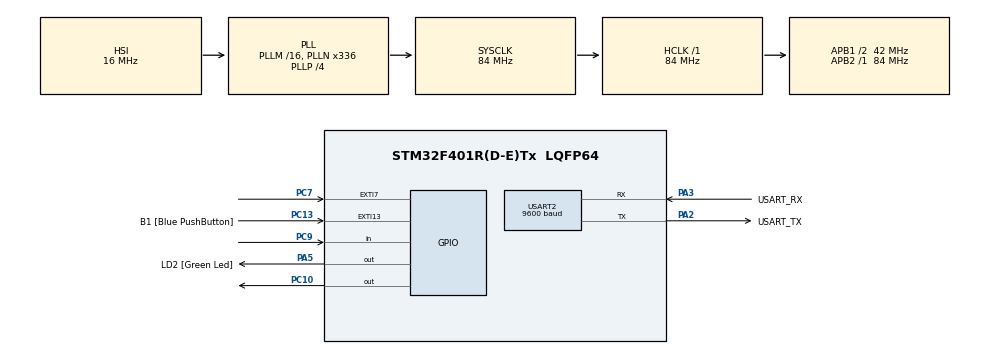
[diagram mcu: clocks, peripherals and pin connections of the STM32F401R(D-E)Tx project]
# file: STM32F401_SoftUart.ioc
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Mcu.Family=STM32F4
Mcu.Name=STM32F401R(D-E)Tx
Mcu.Package=LQFP64
NVIC.PriorityGroup=NVIC_PRIORITYGROUP_0
PA13.GPIO_Label=TMS
PA13.Mode=Serial_Wire
PA13.Signal=SYS_JTMS-SWDIO
PA14.GPIO_Label=TCK
PA14.Mode=Serial_Wire
PA14.Signal=SYS_JTCK-SWCLK
PA2.GPIO_Label=USART_TX
PA2.GPIO_Mode=GPIO_MODE_AF_PP
PA2.GPIO_PuPd=GPIO_NOPULL
PA2.GPIO_Speed=GPIO_SPEED_FREQ_LOW
PA2.Mode=Asynchronous
PA2.Signal=USART2_TX
PA3.GPIO_Label=USART_RX
PA3.GPIO_Mode=GPIO_MODE_AF_PP
PA3.GPIO_PuPd=GPIO_NOPULL
PA3.GPIO_Speed=GPIO_SPEED_FREQ_LOW
PA3.Mode=Asynchronous
PA3.Signal=USART2_RX
PA5.GPIO_Label=LD2 [Green Led]
PA5.GPIO_Mode=GPIO_MODE_OUTPUT_PP
PA5.GPIO_PuPd=GPIO_NOPULL
PA5.GPIO_Speed=GPIO_SPEED_FREQ_LOW
PA5.Signal=GPIO_Output
PB3.GPIO_Label=SWO
PB3.Signal=SYS_JTDO-SWO
PC10.Signal=GPIO_Output
PC13-ANTI_TAMP.GPIO_Label=B1 [Blue PushButton]
PC13-ANTI_TAMP.GPIO_ModeDefaultEXTI=GPIO_MODE_IT_FALLING
PC13-ANTI_TAMP.GPIO_PuPd=GPIO_NOPULL
PC13-ANTI_TAMP.Signal=GPXTI13
PC14-OSC32_IN.Mode=LSE-External-Oscillator
PC14-OSC32_IN.Signal=RCC_OSC32_IN
PC15-OSC32_OUT.Mode=LSE-External-Oscillator
PC15-OSC32_OUT.Signal=RCC_OSC32_OUT
PC7.Signal=GPXTI7
PC9.Signal=GPIO_Input
PH0\ -\ OSC_IN.Mode=HSE-External-Clock-Source
PH0\ -\ OSC_IN.Signal=RCC_OSC_IN
PH1\ -\ OSC_OUT.Mode=HSE-External-Clock-Source
PH1\ -\ OSC_OUT.Signal=RCC_OSC_OUT
ProjectManager.HeapSize=0x200
ProjectManager.StackSize=0x400
ProjectManager.TargetToolchain=SW4STM32
RCC.48MHZClocksFreq_Value=48000000
RCC.AHBFreq_Value=84000000
RCC.APB1CLKDivider=RCC_HCLK_DIV2
RCC.APB1Freq_Value=42000000
RCC.APB1TimFreq_Value=84000000
RCC.APB2Freq_Value=84000000
RCC.APB2TimFreq_Value=84000000
RCC.CortexFreq_Value=84000000
RCC.HCLKFreq_Value=84000000
RCC.HSE_VALUE=8000000
RCC.HSI_VALUE=16000000
RCC.PLLN=336
RCC.PLLP=RCC_PLLP_DIV4
RCC.PLLQ=7
RCC.SYSCLKFreq_VALUE=84000000
RCC.SYSCLKSource=RCC_SYSCLKSOURCE_PLLCLK
RCC.VCOOutputFreq_Value=336000000
USART2.BaudRate=9600
USART2.VirtualMode=VM_ASYNC
VP_TIM1_VS_ClockSourceINT.Mode=Internal
board=NUCLEO-F401RE

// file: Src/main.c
/* USER CODE BEGIN Header */
/**
  ******************************************************************************
  * @file           : main.c
  * @brief          : Main program body
  ******************************************************************************
  * @attention
  *
  * <h2><center>&copy; Copyright (c) 2019 STMicroelectronics.
  * All rights reserved.</center></h2>
  *
  * This software component is licensed by ST under BSD 3-Clause license,
  * the "License"; You may not use this file except in compliance with the
  * License. You may obtain a copy of the License at:
  *                        opensource.org/licenses/BSD-3-Clause
  *
  ******************************************************************************
  */
/* USER CODE END Header */

#include "main.h"

TIM_HandleTypeDef htim1;

UART_HandleTypeDef huart2;

/* USER CODE BEGIN PV */
int _write( int file, char *ptr, int len )
{
  HAL_UART_Transmit(&huart2,(uint8_t*) ptr, len, 1000);
  return len;
}

void HAL_UART_Emul_RxCpltCallback(UART_Emul_HandleTypeDef *huart){

	printf("Rx Complete!\n\r");
}
void HAL_UART_Emul_TxCpltCallback(UART_Emul_HandleTypeDef *huart){

	printf("Tx Complete!\n\r");
}

/* UART Emulation handler declaration */
UART_Emul_HandleTypeDef UartEmulHandle;

/* Buffer used for transmission */
uint8_t aTxBuffer[] ="Soft Uart Test!\n\r";

/* Buffer used for reception */
uint8_t aRxBuffer[RXBUFFERSIZE];
/* USER CODE END PV */

void SystemClock_Config(void);
static void MX_GPIO_Init(void);
static void MX_USART2_UART_Init(void);
static void MX_TIM1_Init(void);

int main(void)
{

  /* MCU Configuration--------------------------------------------------------*/

  /* Reset of all peripherals, Initializes the Flash interface and the Systick. */
  HAL_Init();

  /* Configure the system clock */
  SystemClock_Config();

  /* Initialize all configured peripherals */
  MX_GPIO_Init();
  MX_USART2_UART_Init();
  MX_TIM1_Init();
  /* USER CODE BEGIN 2 */
  HAL_UART_Emul_MspInit(&UartEmulHandle);
  UartEmulHandle.Init.Mode        = UART_EMUL_MODE_TX_RX;
  UartEmulHandle.Init.BaudRate    = 9600;
  UartEmulHandle.Init.StopBits    = UART_EMUL_STOPBITS_1;
  UartEmulHandle.Init.Parity      = UART_EMUL_PARITY_NONE;
  UartEmulHandle.Init.WordLength  = UART_EMUL_WORDLENGTH_8B;

  if (HAL_UART_Emul_Init(&UartEmulHandle) != HAL_OK)
  {
    Error_Handler();
  }
  printf("Init OK \n\r");
  /* USER CODE END 2 */

  /* Infinite loop */
  while (1)
  {

    /* USER CODE BEGIN 3 */
	  /*## Put UART Emulation in reception process ###########################*/

		if (HAL_UART_Emul_Receive_DMA(&UartEmulHandle, (uint8_t *)aRxBuffer, RXBUFFERSIZE) != HAL_OK)
		{
			Error_Handler();
		}

		if (HAL_UART_Emul_Transmit_DMA(&UartEmulHandle, (uint8_t*)aTxBuffer, TXBUFFERSIZE) != HAL_OK)
		{
			Error_Handler();
		}
		while (__HAL_UART_EMUL_GET_FLAG(&UartEmulHandle, UART_EMUL_FLAG_TC) != SET)
		{}
		while (__HAL_UART_EMUL_GET_FLAG(&UartEmulHandle, UART_EMUL_FLAG_RC) != SET)
		{}

		printf("RES:%s\n\r",aRxBuffer);
		HAL_UART_Emul_ResetState(&UartEmulHandle);
		HAL_Delay(1000);
  }
  /* USER CODE END 3 */
}

void SystemClock_Config(void)
{
  RCC_OscInitTypeDef RCC_OscInitStruct = {0};
  RCC_ClkInitTypeDef RCC_ClkInitStruct = {0};

  /** Configure the main internal regulator output voltage
  */
  __HAL_RCC_PWR_CLK_ENABLE();
  __HAL_PWR_VOLTAGESCALING_CONFIG(PWR_REGULATOR_VOLTAGE_SCALE2);
  /** Initializes the CPU, AHB and APB busses clocks
  */
  RCC_OscInitStruct.OscillatorType = RCC_OSCILLATORTYPE_HSI;
  RCC_OscInitStruct.HSIState = RCC_HSI_ON;
  RCC_OscInitStruct.HSICalibrationValue = RCC_HSICALIBRATION_DEFAULT;
  RCC_OscInitStruct.PLL.PLLState = RCC_PLL_ON;
  RCC_OscInitStruct.PLL.PLLSource = RCC_PLLSOURCE_HSI;
  RCC_OscInitStruct.PLL.PLLM = 16;
  RCC_OscInitStruct.PLL.PLLN = 336;
  RCC_OscInitStruct.PLL.PLLP = RCC_PLLP_DIV4;
  RCC_OscInitStruct.PLL.PLLQ = 7;
  if (HAL_RCC_OscConfig(&RCC_OscInitStruct) != HAL_OK)
  {
    Error_Handler();
  }
  /** Initializes the CPU, AHB and APB busses clocks
  */
  RCC_ClkInitStruct.ClockType = RCC_CLOCKTYPE_HCLK|RCC_CLOCKTYPE_SYSCLK
                              |RCC_CLOCKTYPE_PCLK1|RCC_CLOCKTYPE_PCLK2;
  RCC_ClkInitStruct.SYSCLKSource = RCC_SYSCLKSOURCE_PLLCLK;
  RCC_ClkInitStruct.AHBCLKDivider = RCC_SYSCLK_DIV1;
  RCC_ClkInitStruct.APB1CLKDivider = RCC_HCLK_DIV2;
  RCC_ClkInitStruct.APB2CLKDivider = RCC_HCLK_DIV1;

  if (HAL_RCC_ClockConfig(&RCC_ClkInitStruct, FLASH_LATENCY_2) != HAL_OK)
  {
    Error_Handler();
  }
}

static void MX_TIM1_Init(void)
{

  TIM_ClockConfigTypeDef sClockSourceConfig = {0};
  TIM_MasterConfigTypeDef sMasterConfig = {0};

  htim1.Instance = TIM1;
  htim1.Init.Prescaler = 0;
  htim1.Init.CounterMode = TIM_COUNTERMODE_UP;
  htim1.Init.Period = 0;
  htim1.Init.ClockDivision = TIM_CLOCKDIVISION_DIV1;
  htim1.Init.RepetitionCounter = 0;
  htim1.Init.AutoReloadPreload = TIM_AUTORELOAD_PRELOAD_DISABLE;
  if (HAL_TIM_Base_Init(&htim1) != HAL_OK)
  {
    Error_Handler();
  }
  sClockSourceConfig.ClockSource = TIM_CLOCKSOURCE_INTERNAL;
  if (HAL_TIM_ConfigClockSource(&htim1, &sClockSourceConfig) != HAL_OK)
  {
    Error_Handler();
  }
  sMasterConfig.MasterOutputTrigger = TIM_TRGO_RESET;
  sMasterConfig.MasterSlaveMode = TIM_MASTERSLAVEMODE_DISABLE;
  if (HAL_TIMEx_MasterConfigSynchronization(&htim1, &sMasterConfig) != HAL_OK)
  {
    Error_Handler();
  }

}

static void MX_USART2_UART_Init(void)
{

  huart2.Instance = USART2;
  huart2.Init.BaudRate = 9600;
  huart2.Init.WordLength = UART_WORDLENGTH_8B;
  huart2.Init.StopBits = UART_STOPBITS_1;
  huart2.Init.Parity = UART_PARITY_NONE;
  huart2.Init.Mode = UART_MODE_TX_RX;
  huart2.Init.HwFlowCtl = UART_HWCONTROL_NONE;
  huart2.Init.OverSampling = UART_OVERSAMPLING_16;
  if (HAL_UART_Init(&huart2) != HAL_OK)
  {
    Error_Handler();
  }

}

static void MX_GPIO_Init(void)
{
  GPIO_InitTypeDef GPIO_InitStruct = {0};

  /* GPIO Ports Clock Enable */
  __HAL_RCC_GPIOC_CLK_ENABLE();
  __HAL_RCC_GPIOH_CLK_ENABLE();
  __HAL_RCC_GPIOA_CLK_ENABLE();
  __HAL_RCC_GPIOB_CLK_ENABLE();

  /*Configure GPIO pin Output Level */
  HAL_GPIO_WritePin(LD2_GPIO_Port, LD2_Pin, GPIO_PIN_RESET);

  /*Configure GPIO pin Output Level */
  HAL_GPIO_WritePin(GPIOC, GPIO_PIN_10, GPIO_PIN_RESET);

  /*Configure GPIO pin : B1_Pin */
  GPIO_InitStruct.Pin = B1_Pin;
  GPIO_InitStruct.Mode = GPIO_MODE_IT_FALLING;
  GPIO_InitStruct.Pull = GPIO_NOPULL;
  HAL_GPIO_Init(B1_GPIO_Port, &GPIO_InitStruct);

  /*Configure GPIO pin : LD2_Pin */
  GPIO_InitStruct.Pin = LD2_Pin;
  GPIO_InitStruct.Mode = GPIO_MODE_OUTPUT_PP;
  GPIO_InitStruct.Pull = GPIO_NOPULL;
  GPIO_InitStruct.Speed = GPIO_SPEED_FREQ_LOW;
  HAL_GPIO_Init(LD2_GPIO_Port, &GPIO_InitStruct);

  /*Configure GPIO pin : PC7 */
  GPIO_InitStruct.Pin = GPIO_PIN_7;
  GPIO_InitStruct.Mode = GPIO_MODE_IT_RISING;
  GPIO_InitStruct.Pull = GPIO_NOPULL;
  HAL_GPIO_Init(GPIOC, &GPIO_InitStruct);

  /*Configure GPIO pin : PC9 */
  GPIO_InitStruct.Pin = GPIO_PIN_9;
  GPIO_InitStruct.Mode = GPIO_MODE_INPUT;
  GPIO_InitStruct.Pull = GPIO_NOPULL;
  HAL_GPIO_Init(GPIOC, &GPIO_InitStruct);

  /*Configure GPIO pin : PC10 */
  GPIO_InitStruct.Pin = GPIO_PIN_10;
  GPIO_InitStruct.Mode = GPIO_MODE_OUTPUT_PP;
  GPIO_InitStruct.Pull = GPIO_NOPULL;
  GPIO_InitStruct.Speed = GPIO_SPEED_FREQ_LOW;
  HAL_GPIO_Init(GPIOC, &GPIO_InitStruct);

}

void Error_Handler(void)
{
  /* USER CODE BEGIN Error_Handler_Debug */
  /* User can add his own implementation to report the HAL error return state */
  printf("Error_Handler\n\r");
  /* USER CODE END Error_Handler_Debug */
}

/************************ (C) COPYRIGHT STMicroelectronics *****END OF FILE****/
